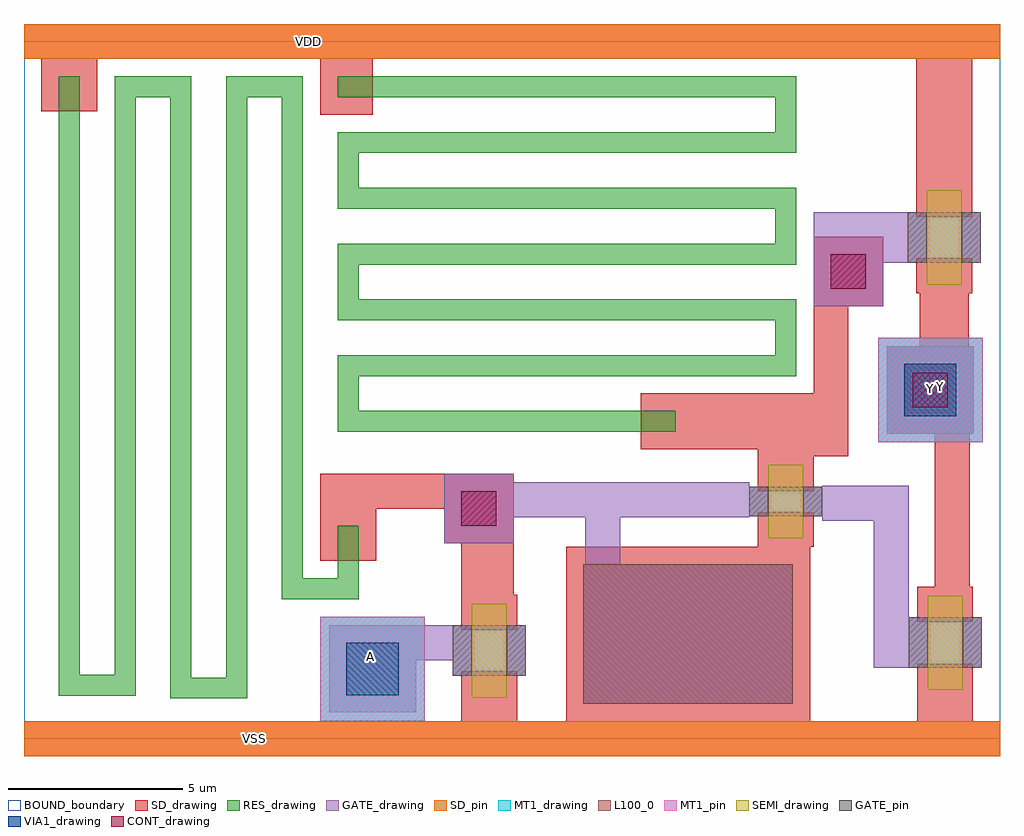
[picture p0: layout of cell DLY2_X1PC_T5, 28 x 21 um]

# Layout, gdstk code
from math import pi, radians
import gdstk
lib = gdstk.Library(unit=1e-6, precision=1e-09)
def R(c, l, rs):  # rectangles x0, y0, x1, y1
    for r in rs: c.add(gdstk.rectangle(r[:2], r[2:], *l))
def P(c, l, *ps):  # polygons
    for p in ps: c.add(gdstk.Polygon(p, *l))
RES_drawing = (1, 0)
SEMI_drawing = (3, 0)
SD_drawing = (10, 0)
SD_pin = (10, 3)
GATE_drawing = (11, 0)
GATE_pin = (11, 3)
MT1_drawing = (20, 0)
MT1_pin = (20, 3)
CONT_drawing = (30, 0)
VIA1_drawing = (41, 0)
L100_0 = (100, 0)
BOUND_boundary = (150, 5)

nch_cdns_772544866480 = lib.new_cell('nch_CDNS_772544866480')
R(nch_cdns_772544866480, SEMI_drawing, [(-1.05,-0.5,1.05,0.5)])
R(nch_cdns_772544866480, SD_drawing, [(-1.3,-0.8,-0.3,0.8), (0.3,-0.8,1.3,0.8)])
R(nch_cdns_772544866480, GATE_drawing, [(-0.425,-1.05,0.425,1.05)])
R(nch_cdns_772544866480, GATE_pin, [(-0.425,-1.05,0.425,-0.5), (-0.425,0.5,0.425,1.05)])

nch_cdns_772544866481 = lib.new_cell('nch_CDNS_772544866481')
R(nch_cdns_772544866481, SEMI_drawing, [(-1.35,-0.5,1.35,0.5)])
R(nch_cdns_772544866481, SD_drawing, [(-1.6,-0.8,-0.6,0.8), (0.6,-0.8,1.6,0.8)])
R(nch_cdns_772544866481, GATE_drawing, [(-0.725,-1.05,0.725,1.05)])
R(nch_cdns_772544866481, GATE_pin, [(-0.725,-1.05,0.725,-0.5), (-0.725,0.5,0.725,1.05)])

cap_cdns_772544866482 = lib.new_cell('cap_CDNS_772544866482')
R(cap_cdns_772544866482, SD_drawing, [(-2.5,-3.5,2.5,3.5)])
R(cap_cdns_772544866482, GATE_drawing, [(-2,-3,2,3)])
R(cap_cdns_772544866482, L100_0, [(-2,-3,2,3)])

gate_mt1_cdns_7725448664 = lib.new_cell('GATE_MT1_CDNS_772544866480')
R(gate_mt1_cdns_7725448664, GATE_drawing, [(-1.25,-1.25,1.25,1.25)])
R(gate_mt1_cdns_7725448664, MT1_drawing, [(-1.25,-1.25,1.25,1.25)])
R(gate_mt1_cdns_7725448664, VIA1_drawing, [(-0.75,-0.75,0.75,0.75)])

sd_gate_cdns_77254486648 = lib.new_cell('SD_GATE_CDNS_772544866481')
R(sd_gate_cdns_77254486648, SD_drawing, [(-1.25,-1.25,1.25,1.25)])
R(sd_gate_cdns_77254486648, GATE_drawing, [(-1.25,-1.25,1.25,1.25)])
R(sd_gate_cdns_77254486648, CONT_drawing, [(-0.5,-0.5,0.5,0.5)])

c_sd_gate_cdns_77254486648 = lib.new_cell('SD_GATE_CDNS_772544866482')
R(c_sd_gate_cdns_77254486648, SD_drawing, [(-1,-1,1,1)])
R(c_sd_gate_cdns_77254486648, GATE_drawing, [(-1,-1,1,1)])
R(c_sd_gate_cdns_77254486648, CONT_drawing, [(-0.5,-0.5,0.5,0.5)])

dly2_x1pc_t5 = lib.new_cell('DLY2_X1PC_T5')
R(dly2_x1pc_t5, SD_drawing, [(0,-0.5,28,0.5), (8.5,5.1,10.1,6.6), (8.5,6.6,14.05,7.6), (22.65,8.1,23.65,14.4), (17.7,8.3,19.2,9.9), (8.5,17.9,10,19.5), (0.5,18,2.1,19.5), (0,19.5,28,20.5)])
R(dly2_x1pc_t5, SD_pin, [(0,-0.5,28,0.5), (0,19.5,28,20.5)])
R(dly2_x1pc_t5, GATE_drawing, [(11.25,2.25,12.3,3.25), (22.65,13.65,25.35,15.1)])
P(dly2_x1pc_t5, GATE_drawing, [(23,6.25),(23,7.25),(22.9,7.25),(22.9,7.175),(22.85,7.175),(22.85,6.425),(22.9,6.425),(22.9,6.25)],
  [(20.7,6.35),(20.7,7.35),(20.8,7.35),(20.8,7.175),(20.85,7.175),(20.85,6.425),(20.8,6.425),(20.8,6.35)])
R(dly2_x1pc_t5, MT1_drawing, [(8.5,0.5,11.5,3.5), (24.5,8.5,27.5,11.5)])
R(dly2_x1pc_t5, MT1_pin, [(8.5,0.5,11.5,3.5), (24.5,8.5,27.5,11.5)])
R(dly2_x1pc_t5, BOUND_boundary, [(0,0,28,20)])
dly2_x1pc_t5.add(gdstk.FlexPath([(24.875,6.75),(23,6.75)], 1, ends=(0.5, 0), simple_path=True, layer=11, datatype=0))  # GATE_drawing
dly2_x1pc_t5.add(gdstk.FlexPath([(24.875,3.35),(24.875,6.75)], 1, ends=(1.325, 0.5), simple_path=True, layer=11, datatype=0))  # GATE_drawing
dly2_x1pc_t5.add(gdstk.FlexPath([(20.7,6.85),(17.6,6.85)], 1, ends=(0, 0.5), simple_path=True, layer=11, datatype=0))  # GATE_drawing
dly2_x1pc_t5.add(gdstk.FlexPath([(16.6,6.85),(16.6,5)], 1, ends=(0.5, 0), simple_path=True, layer=11, datatype=0))  # GATE_drawing
dly2_x1pc_t5.add(gdstk.FlexPath([(12.05,6.85),(16.6,6.85)], 1, ends=(0, 0.5), simple_path=True, layer=11, datatype=0))  # GATE_drawing
dly2_x1pc_t5.add(gdstk.FlexPath([(13.35,4.125),(13.35,6.6)], 1.4, ends="flush", simple_path=True, layer=10, datatype=0))  # SD_drawing
dly2_x1pc_t5.add(gdstk.FlexPath([(22.55,9.1),(21.85,9.1)], 1.6, ends=(0, 0.8), simple_path=True, layer=10, datatype=0))  # SD_drawing
dly2_x1pc_t5.add(gdstk.FlexPath([(26.625,4.35),(26.625,8.8)], 1, ends="flush", simple_path=True, layer=10, datatype=0))  # SD_drawing
dly2_x1pc_t5.add(gdstk.FlexPath([(26.4,12.775),(26.4,11.25)], 1.4, ends="flush", simple_path=True, layer=10, datatype=0))  # SD_drawing
dly2_x1pc_t5.add(gdstk.FlexPath([(26.4,15.975),(26.4,19.5)], 1.6, ends="flush", simple_path=True, layer=10, datatype=0))  # SD_drawing
dly2_x1pc_t5.add(gdstk.FlexPath([(21.85,9.1),(19.2,9.1)], 1.6, ends=(0.8, 0), simple_path=True, layer=10, datatype=0))  # SD_drawing
dly2_x1pc_t5.add(gdstk.FlexPath([(21.85,8.1),(21.85,9.1)], 1.6, ends=(0, 0.8), simple_path=True, layer=10, datatype=0))  # SD_drawing
dly2_x1pc_t5.add(gdstk.FlexPath([(13.25,4.125),(13.25,6.6)], 1.4, ends="flush", simple_path=True, layer=10, datatype=0))  # SD_drawing
dly2_x1pc_t5.add(gdstk.FlexPath([(26.425,1.15),(26.425,0.5)], 1.6, ends="flush", simple_path=True, layer=10, datatype=0))  # SD_drawing
dly2_x1pc_t5.add(gdstk.FlexPath([(13.35,0.925),(13.35,0.5)], 1.6, ends="flush", simple_path=True, layer=10, datatype=0))  # SD_drawing
dly2_x1pc_t5.add(gdstk.FlexPath([(1.3,18),(1.3,1.525),(2.9,1.525),(2.9,18.7),(4.5,18.7),(4.5,1.45),(6.1,1.45),(6.1,18.7),(7.7,18.7),(7.7,4.3),(9.3,4.3),(9.3,5.1)], 0.6, ends=(1, 1), simple_path=True, layer=1, datatype=0))  # RES_drawing
dly2_x1pc_t5.add(gdstk.FlexPath([(10,18.7),(21.85,18.7),(21.85,17.1),(9.3,17.1),(9.3,15.5),(21.85,15.5),(21.85,13.9),(9.3,13.9),(9.3,12.3),(21.85,12.3),(21.85,10.7),(9.3,10.7),(9.3,9.1),(17.7,9.1)], 0.6, ends=(1, 1), simple_path=True, layer=1, datatype=0))  # RES_drawing
dly2_x1pc_t5.add(gdstk.Reference(nch_cdns_772544866480, (21.85,6.8), rotation=pi/2))
dly2_x1pc_t5.add(gdstk.Reference(nch_cdns_772544866481, (13.35,2.525), rotation=pi/2))
dly2_x1pc_t5.add(gdstk.Reference(nch_cdns_772544866481, (26.4,14.375), rotation=pi/2))
dly2_x1pc_t5.add(gdstk.Reference(nch_cdns_772544866481, (26.425,2.75), rotation=pi/2))
dly2_x1pc_t5.add(gdstk.Reference(cap_cdns_772544866482, (19.05,3), rotation=pi/2))
dly2_x1pc_t5.add(gdstk.Reference(gate_mt1_cdns_7725448664, (10,2)))
dly2_x1pc_t5.add(gdstk.Reference(gate_mt1_cdns_7725448664, (26,10)))
dly2_x1pc_t5.add(gdstk.Reference(sd_gate_cdns_77254486648, (26,10)))
dly2_x1pc_t5.add(gdstk.Reference(c_sd_gate_cdns_77254486648, (13.05,6.6)))
dly2_x1pc_t5.add(gdstk.Reference(c_sd_gate_cdns_77254486648, (23.65,13.4)))
dly2_x1pc_t5.add(gdstk.Label('VSS', (6.6,0), layer=10, texttype=3))
dly2_x1pc_t5.add(gdstk.Label('VDD', (8.175,20), layer=10, texttype=3))
dly2_x1pc_t5.add(gdstk.Label('Y', (26.3,10.1), layer=20, texttype=0))
dly2_x1pc_t5.add(gdstk.Label('A', (9.95,2.35), layer=20, texttype=3))
dly2_x1pc_t5.add(gdstk.Label('Y', (26,10.05), layer=20, texttype=3))

lib.write_gds('DLY2_X1PC_T5.gds')
